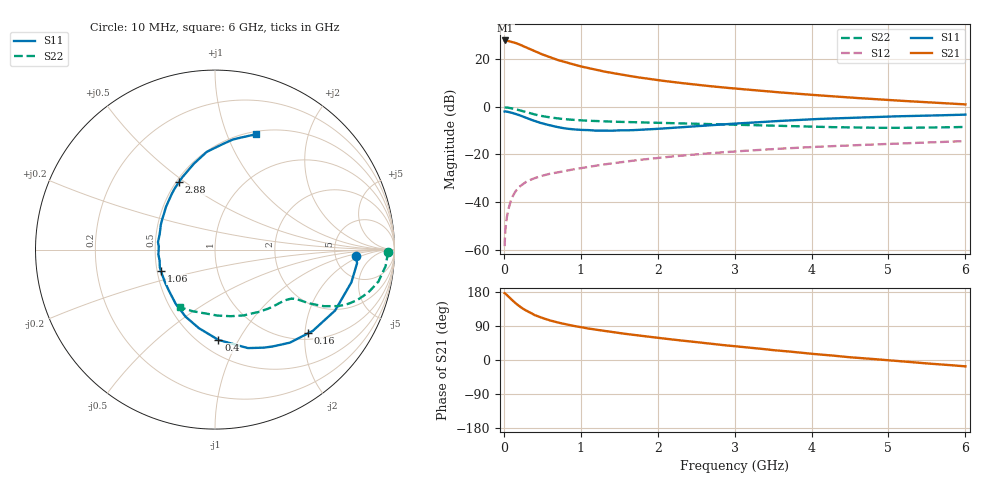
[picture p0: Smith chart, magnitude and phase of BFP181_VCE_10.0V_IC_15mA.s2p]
! Infineon Technologies  Discrete & RF Semiconductors
! BFP181
! VCE = 10.0V,  IC =  15 mA
! Common Emitter S-Parameters:  Jan 2016
# GHz  S  MA  R  50
!  f  S11  S21  S12  S22
! GHz  MAG  ANG  MAG  ANG  MAG  ANG  MAG  ANG
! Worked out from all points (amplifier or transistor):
!   210 points, 10 MHz to 6 GHz, reference 50 ohm
!   highest |S21| = 27.7 dB at 20 MHz (marker M1)
!   |S21| within 3 dB of that: start of sweep to 298 MHz
!   unconditionally stable (mu >= 1): 1.159 GHz to end of sweep
!   at 185 MHz: K = 0.31, MSG = 30.2 dB, |S12| = -34.2 dB
!   at 1.52 GHz: K = 1.08, MAG = 16.6 dB, |S12| = -23.2 dB
!   at 6 GHz: K = 1.03, MAG = 6.6 dB, |S12| = -14.4 dB
!   S11 on the Smith chart (normalised r, x): 10 MHz: 8.09, -1.58; 160 MHz: 1.14, -2.08; 400 MHz: 0.61, -0.83; 1.06 GHz: 0.52, -0.14; 2.88 GHz: 0.52, +0.48; 6 GHz: 0.53, +1.27
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0.01  0.7873 -2.7  24.27 176.3  0.0012 58.8  0.9624 -0.7
0.02  0.7951 -5.5  24.3 175.2  0.0026 75.1  0.9614 -2.1
0.05  0.7815 -13.5  23.89 169.3  0.006 80.5  0.9548 -5.6
0.1  0.7503 -26.9  22.71 159.7  0.0118 74.3  0.9276 -11.1
0.16  0.6978 -41.9  21.31 148.7  0.0175 68.3  0.8781 -16.3
0.2  0.6654 -51.2  20.21 142.1  0.0208 65.9  0.8428 -19.4
0.26  0.6108 -63.4  18.23 133.9  0.0247 60.6  0.7897 -22.8
0.3  0.5787 -71.5  17.15 129.2  0.0274 59.0  0.7564 -24.6
0.4  0.5037 -87.8  14.57 118.5  0.0318 55.5  0.685 -27.4
0.5  0.4464 -101.7  12.41 110.7  0.0358 53.6  0.6326 -28.9
0.6  0.4084 -113.6  10.86 104.4  0.0394 52.5  0.5955 -29.9
0.7  0.3736 -125.8  9.483 99.0  0.042 51.6  0.5667 -30.4
0.8  0.3496 -135.3  8.519 94.2  0.0451 51.2  0.5457 -30.9
1.02  0.3254 -155.1  6.844 85.9  0.0524 51.5  0.5148 -32.1
1.06  0.3236 -158.6  6.624 84.5  0.0537 51.4  0.5107 -32.4
1.5  0.3205 172.5  4.769 71.1  0.0681 50.7  0.4807 -36.1
2.02  0.3447 146.4  3.556 58.2  0.0851 48.1  0.4582 -42.4
2.88  0.4276 117.8  2.498 38.8  0.1116 42.1  0.4226 -55.5
3.1  0.4503 112.2  2.321 34.5  0.118 40.4  0.4126 -59.2
4.1  0.5532 93.1  1.722 14.7  0.1451 32.1  0.3775 -78.9
5.1  0.6266 79.7  1.347 -2.4  0.1683 24.5  0.3599 -101.0
6  0.6806 70.6  1.116 -16.8  0.1901 17.4  0.3763 -121.7
